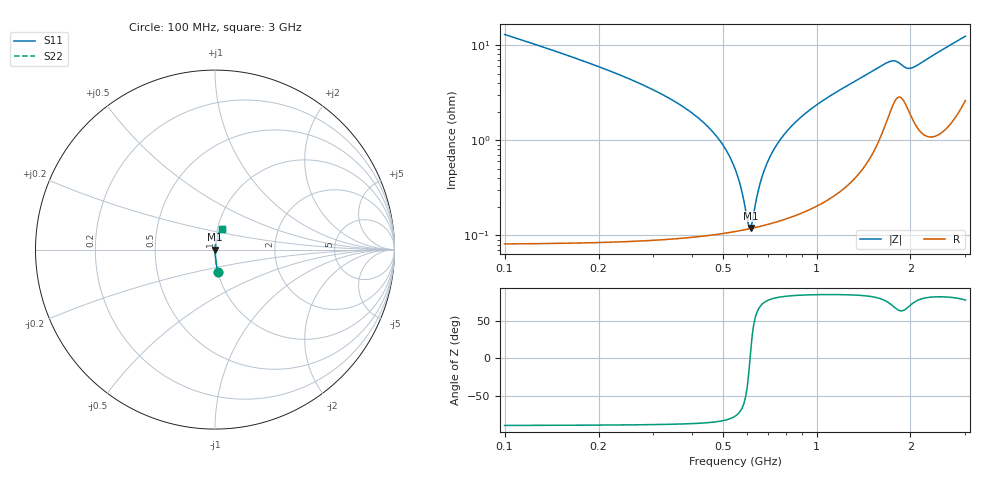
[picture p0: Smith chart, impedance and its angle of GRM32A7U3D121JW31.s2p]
!Murata Part Number: GRM32A7U3D121JW31
!These Parameters are Measured in Series Mode Connection
!Data Generated on Mar 30, 2021
!  o--ll--o
!Port1  Port2
!  o------o
!Operation Temp=25[degC], DC Bias Voltage=0[V]
!Freq. Start=100[MHz] Stop=3[GHz] 401[Steps]
# Hz S RI R 50
!Freq.(Hz) S11(Real) S11(Imag) S21(Real) S21(Imag) S12(Real) S12(Imag) S22(Real) S22(Imag)
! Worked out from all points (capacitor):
!   401 points, 100 MHz to 3 GHz, reference 50 ohm
!   read as one part in series: C = 120 pF near 114.5 MHz
!   lowest |Z| = 120 mohm at 614.8 MHz (marker M1)
!   series resonance near 612.1 MHz, so ESL is about 560 pH
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1e8  0.0172 -0.1268  0.9828 0.1268  0.9828 0.1268  0.0172 -0.1268
1.87e8  0.00496 -0.064  0.995 0.064  0.995 0.064  0.00496 -0.064
3.9e8  0.00136 -0.0203  0.9986 0.0203  0.9986 0.0203  0.00136 -0.0203
4.6975e8  0.00115 -0.0117  0.9988 0.0117  0.9988 0.0117  0.00115 -0.0117
5.4225e8  0.00112 -0.00533  0.9989 0.00533  0.9989 0.00533  0.00112 -0.00533
5.64e8  0.00113 -0.0036  0.9989 0.0036  0.9989 0.0036  0.00113 -0.0036
5.8575e8  0.00114 -0.00194  0.9989 0.00194  0.9989 0.00194  0.00114 -0.00194
6.0025e8  0.00116 -0.000861  0.9988 0.000861  0.9988 0.000861  0.00116 -0.000861
6.1475e8  0.00118 0.00019  0.9988 -0.00019  0.9988 -0.00019  0.00118 0.00019
6.2925e8  0.0012 0.00122  0.9988 -0.00122  0.9988 -0.00122  0.0012 0.00122
6.5825e8  0.00125 0.00321  0.9987 -0.00321  0.9987 -0.00321  0.00125 0.00321
6.8e8  0.0013 0.00466  0.9987 -0.00466  0.9987 -0.00466  0.0013 0.00466
7.09e8  0.00136 0.00654  0.9986 -0.00654  0.9986 -0.00654  0.00136 0.00654
7.525e8  0.00148 0.00925  0.9985 -0.00925  0.9985 -0.00925  0.00148 0.00925
8.83e8  0.00196 0.0169  0.998 -0.0169  0.998 -0.0169  0.00196 0.0169
1.0715e9  0.00302 0.0271  0.997 -0.0271  0.997 -0.0271  0.00302 0.0271
1.55e9  0.0114 0.0543  0.9886 -0.0543  0.9886 -0.0543  0.0114 0.0543
1.753e9  0.0263 0.0611  0.9737 -0.0611  0.9737 -0.0611  0.0263 0.0611
1.9415e9  0.0249 0.0502  0.9751 -0.0502  0.9751 -0.0502  0.0249 0.0502
2.03575e9  0.019 0.0537  0.981 -0.0537  0.981 -0.0537  0.019 0.0537
2.5215e9  0.0193 0.0852  0.9807 -0.0852  0.9807 -0.0852  0.0193 0.0852
3e9  0.0388 0.1134  0.9612 -0.1134  0.9612 -0.1134  0.0388 0.1134
